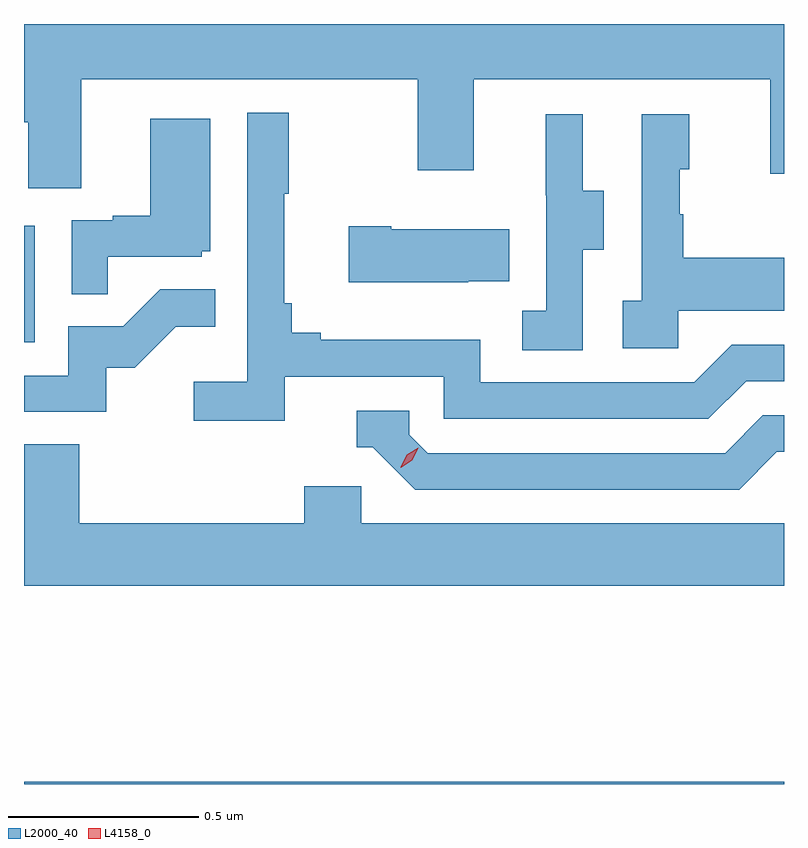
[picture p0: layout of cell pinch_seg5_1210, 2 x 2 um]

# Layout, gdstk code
import gdstk
lib = gdstk.Library(unit=1e-6, precision=1e-09)
def R(c, l, rs):  # rectangles x0, y0, x1, y1
    for r in rs: c.add(gdstk.rectangle(r[:2], r[2:], *l))
def P(c, l, *ps):  # polygons
    for p in ps: c.add(gdstk.Polygon(p, *l))
L2000_40 = (2000, 40)
L4158_0 = (4158, 0)

pinch_seg5_1210 = lib.new_cell('pinch_seg5_1210')
R(pinch_seg5_1210, L2000_40, [(852.99,833.594,854.99,833.6), (852.99,834.756,853.018,835.063)])
P(pinch_seg5_1210, L2000_40, [(853.141,835.448),(854.026,835.448),(854.026,835.209),(854.173,835.209),(854.173,835.448),(854.954,835.448),(854.954,835.2),(854.99,835.2),(854.99,835.594),(852.99,835.594),(852.99,835.336),(853.001,835.336),(853.001,835.162),(853.141,835.162)],
  [(853.676,834.666),(854.094,834.666),(854.094,834.555),(854.791,834.555),(854.89,834.654),(854.99,834.654),(854.99,834.75),(854.853,834.75),(854.754,834.651),(854.19,834.651),(854.19,834.763),(853.771,834.763),(853.771,834.782),(853.694,834.782),(853.694,834.859),(853.675,834.859),(853.675,835.147),(853.687,835.147),(853.687,835.36),(853.578,835.36),(853.578,834.652),(853.437,834.652),(853.437,834.55),(853.676,834.55)],
  [(854.712,834.839),(854.99,834.839),(854.99,834.979),(854.725,834.979),(854.725,835.094),(854.715,835.094),(854.715,835.212),(854.74,835.212),(854.74,835.357),(854.616,835.357),(854.616,834.866),(854.565,834.866),(854.565,834.741),(854.712,834.741)],
  [(854.46,835),(854.515,835),(854.515,835.155),(854.461,835.155),(854.461,835.357),(854.363,835.357),(854.363,835.143),(854.364,835.143),(854.364,834.839),(854.301,834.839),(854.301,834.736),(854.46,834.736)],
  [(853.211,834.981),(853.458,834.981),(853.458,834.996),(853.48,834.996),(853.48,835.345),(853.322,835.345),(853.322,835.09),(853.223,835.09),(853.223,835.077),(853.116,835.077),(853.116,834.883),(853.211,834.883)],
  [(854.159,834.917),(854.267,834.917),(854.267,835.054),(853.957,835.054),(853.957,835.062),(853.845,835.062),(853.845,834.914),(854.159,834.914)],
  [(853.206,834.69),(853.282,834.69),(853.389,834.797),(853.493,834.797),(853.493,834.896),(853.349,834.896),(853.251,834.798),(853.107,834.798),(853.107,834.669),(852.99,834.669),(852.99,834.573),(853.206,834.573)],
  [(854.971,834.468),(854.99,834.468),(854.99,834.564),(854.934,834.564),(854.835,834.465),(854.052,834.465),(854.004,834.513),(854.004,834.576),(853.865,834.576),(853.865,834.48),(853.908,834.48),(854.019,834.369),(854.872,834.369)],
  [(854.99,834.28),(853.878,834.28),(853.878,834.378),(853.727,834.378),(853.727,834.28),(853.136,834.28),(853.136,834.488),(852.99,834.488),(852.99,834.116),(854.99,834.116)])
P(pinch_seg5_1210, L4158_0, [(853.981,834.426),(853.981,834.427),(853.997,834.46),(854.028,834.479),(854.028,834.479),(854.028,834.479),(854.012,834.446),(853.981,834.426)])

lib.write_gds('pinch_seg5_1210.gds')
